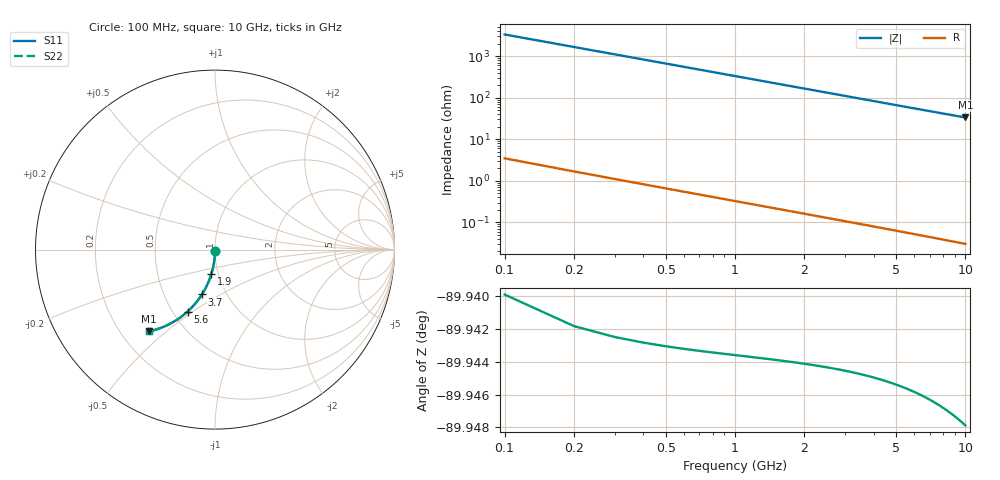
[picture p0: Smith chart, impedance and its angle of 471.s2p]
# Hz S RI R 50.00
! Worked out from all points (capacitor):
!   100 points, 100 MHz to 10 GHz, reference 50 ohm
!   read as one part in shunt: C = 481 fF near 100 MHz
!   lowest |Z| = 33.4 ohm at 10 GHz (marker M1)
!   S11 on the Smith chart (normalised r, x): 100 MHz: 1.00, -0.01; 1.9 GHz: 0.93, -0.26; 3.7 GHz: 0.77, -0.41; 5.6 GHz: 0.59, -0.48; 10 GHz: 0.32, -0.44
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1e8  3.99e-05 -0.00729  0.9998 -0.00781  0.9998 -0.00781  3.99e-05 -0.00729
2e8  -0.000137 -0.0146  0.9997 -0.0156  0.9997 -0.0156  -0.000137 -0.0146
3e8  -0.000429 -0.0219  0.9994 -0.0234  0.9994 -0.0234  -0.000429 -0.0219
4e8  -0.000834 -0.0291  0.999 -0.0312  0.999 -0.0312  -0.000834 -0.0291
5e8  -0.00135 -0.0364  0.9984 -0.039  0.9984 -0.039  -0.00135 -0.0364
6e8  -0.00198 -0.0436  0.9978 -0.0468  0.9978 -0.0468  -0.00198 -0.0436
8e8  -0.00358 -0.0581  0.9962 -0.0622  0.9962 -0.0622  -0.00358 -0.0581
9e8  -0.00455 -0.0653  0.9952 -0.07  0.9952 -0.07  -0.00455 -0.0653
1.1e9  -0.00682 -0.0796  0.993 -0.0853  0.993 -0.0853  -0.00682 -0.0796
1.4e9  -0.011 -0.1009  0.9887 -0.1082  0.9887 -0.1082  -0.011 -0.1009
1.8e9  -0.0182 -0.1288  0.9816 -0.1381  0.9816 -0.1381  -0.0182 -0.1288
1.9e9  -0.0202 -0.1357  0.9795 -0.1455  0.9795 -0.1455  -0.0202 -0.1357
2.2e9  -0.0269 -0.156  0.9728 -0.1674  0.9728 -0.1674  -0.0269 -0.156
2.6e9  -0.0372 -0.1824  0.9625 -0.1959  0.9625 -0.1959  -0.0372 -0.1824
3.4e9  -0.0621 -0.2323  0.9375 -0.25  0.9375 -0.25  -0.0621 -0.2323
3.7e9  -0.0727 -0.2499  0.9269 -0.2691  0.9269 -0.2691  -0.0727 -0.2499
4.4e9  -0.1 -0.2883  0.8995 -0.3112  0.8995 -0.3112  -0.1 -0.2883
5.1e9  -0.13 -0.3229  0.8694 -0.3494  0.8694 -0.3494  -0.13 -0.3229
5.6e9  -0.1529 -0.3451  0.8465 -0.3743  0.8465 -0.3743  -0.1529 -0.3451
6.7e9  -0.2057 -0.3865  0.7934 -0.4216  0.7934 -0.4216  -0.2057 -0.3865
8.4e9  -0.2904 -0.4317  0.7084 -0.4758  0.7084 -0.4758  -0.2904 -0.4317
1e10  -0.3683 -0.4557  0.63 -0.5084  0.63 -0.5084  -0.3683 -0.4557
